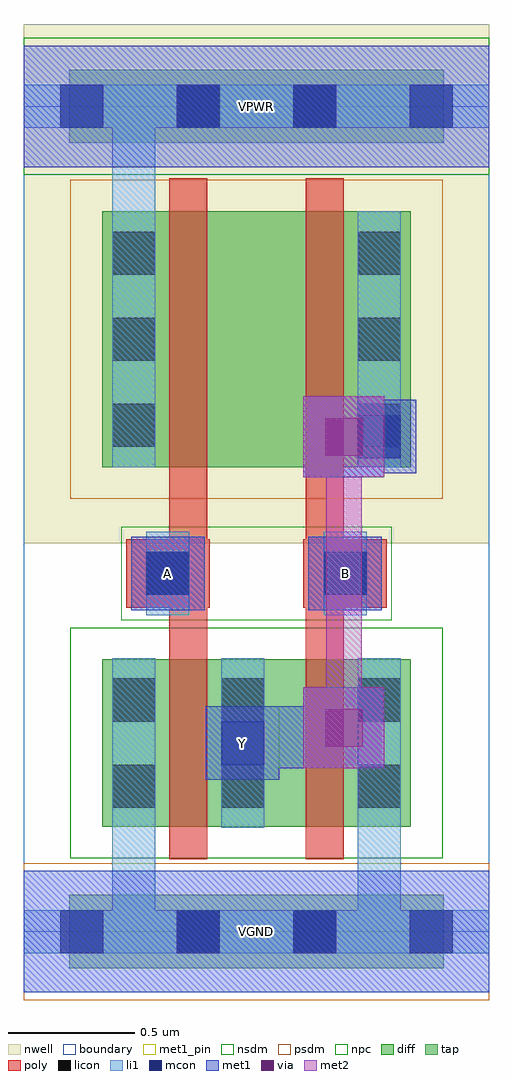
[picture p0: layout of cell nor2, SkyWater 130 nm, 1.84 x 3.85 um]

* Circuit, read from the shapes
.subckt nor2 A B VGND VPWR Y
XM1 Y A VGND VGND sky130_fd_pr__nfet_01v8 w=0.66 l=0.15
XM2 VGND B Y VGND sky130_fd_pr__nfet_01v8 w=0.66 l=0.15
XM3 n1 A VPWR VPWR sky130_fd_pr__pfet_01v8 w=1.01 l=0.15
XM4 Y B n1 VPWR sky130_fd_pr__pfet_01v8 w=1.01 l=0.15
.ends

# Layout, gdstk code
import gdstk
lib = gdstk.Library(unit=1e-6, precision=1e-09)
def R(c, l, rs):  # rectangles x0, y0, x1, y1
    for r in rs: c.add(gdstk.rectangle(r[:2], r[2:], *l))
def A(c, l, x, y, w, h, nx, ny, dx, dy):  # array of equal rectangles
    R(c, l, [(x+i*dx, y+j*dy, x+i*dx+w, y+j*dy+h) for i in range(nx) for j in range(ny)])
nwell = (64, 20)
diff = (65, 20)
tap = (65, 44)
poly = (66, 20)
licon = (66, 44)
li1 = (67, 20)
mcon = (67, 44)
met1_pin = (68, 16)
met1 = (68, 20)
via = (68, 44)
met2 = (69, 20)
nsdm = (93, 44)
psdm = (94, 20)
npc = (95, 20)
boundary = (235, 4)

nor2 = lib.new_cell('nor2')
R(nor2, nwell, [(0,1.535,1.84,3.585)])
R(nor2, diff, [(0.31,0.415,1.53,1.075), (0.31,1.835,1.53,2.845)])
R(nor2, tap, [(0.18,-0.145,1.66,0.145), (0.18,3.115,1.66,3.405)])
R(nor2, poly, [(0.575,0.285,0.725,2.975), (1.115,0.285,1.265,2.975), (0.405,1.28,0.735,1.55), (1.105,1.28,1.435,1.55)])
A(nor2, licon, 0.35, 1.915, 0.17, 0.17, 1, 3, 0, 0.34)
A(nor2, licon, 1.32, 1.915, 0.17, 0.17, 1, 3, 0, 0.34)
R(nor2, licon, [(0.605,-0.085,0.775,0.085), (1.065,-0.085,1.235,0.085), (0.35,0.49,0.52,0.66), (0.78,0.49,0.95,0.66), (1.32,0.49,1.49,0.66), (0.35,0.83,0.52,1), (0.78,0.83,0.95,1), (1.32,0.83,1.49,1), (0.485,1.33,0.655,1.5), (1.185,1.33,1.355,1.5), (0.605,3.175,0.775,3.345), (1.065,3.175,1.235,3.345)])
R(nor2, li1, [(0,-0.085,1.84,0.085), (0.35,-0.085,0.52,1.08), (1.32,-0.085,1.49,1.08), (0.35,0.41,0.52,1.08), (0.78,0.41,0.95,1.08), (1.32,0.41,1.49,1.08), (0.485,1.25,0.655,1.58), (1.185,1.25,1.355,1.58), (0.35,1.835,0.52,2.845), (0.35,1.835,0.52,3.345), (1.32,1.835,1.49,2.845), (0,3.175,1.84,3.345)])
A(nor2, mcon, 0.145, -0.085, 0.17, 0.17, 4, 2, 0.46, 3.26)
R(nor2, mcon, [(0.78,0.66,0.95,0.83), (0.485,1.33,0.655,1.5), (1.185,1.33,1.355,1.5), (1.32,1.87,1.49,2.04)])
R(nor2, met1_pin, [(0,-0.24,1.84,0.24), (0.72,0.6,1.01,0.89), (0.425,1.27,0.715,1.56), (1.125,1.27,1.415,1.56), (0,3.02,1.84,3.5)])
R(nor2, met1, [(0,-0.24,1.84,0.24), (0.72,0.6,1.01,0.89), (1.01,0.645,1.105,0.89), (1.01,0.645,1.105,0.89), (1.01,0.645,1.105,0.89), (1.105,0.645,1.425,0.965), (0.85,0.735,0.99,0.875), (0.85,0.735,1.335,0.875), (0.99,0.735,1.105,0.875), (0.99,0.735,1.105,0.875), (0.99,0.735,1.105,0.875), (0.99,0.735,1.105,0.875), (0.99,0.735,1.105,0.875), (0.99,0.735,1.105,0.875), (0.99,0.735,1.01,0.875), (0.99,0.735,1.01,0.875), (0.99,0.735,1.01,0.875), (0.99,0.735,1.01,0.875), (0.99,0.735,1.01,0.875), (0.99,0.735,1.01,0.875), (1.01,0.735,1.105,0.875), (1.01,0.735,1.105,0.875), (1.01,0.735,1.105,0.875), (1.01,0.735,1.105,0.875), (0.425,1.27,0.715,1.56), (1.125,1.27,1.415,1.56), (1.105,1.795,1.425,2.115), (1.26,1.81,1.55,2.1), (1.195,1.885,1.475,2.025), (0,3.02,1.84,3.5)])
R(nor2, via, [(1.19,0.73,1.34,0.88), (1.19,1.88,1.34,2.03)])
R(nor2, met2, [(1.105,0.645,1.425,0.965), (1.195,0.735,1.335,2.025), (1.105,1.795,1.425,2.115)])
R(nor2, nsdm, [(0.185,0.29,1.655,1.2), (0,2.99,1.84,3.53)])
R(nor2, psdm, [(0,-0.27,1.84,0.27), (0.185,1.71,1.655,2.97)])
R(nor2, npc, [(0.385,1.23,1.455,1.6)])
R(nor2, boundary, [(0,0,1.84,3.26)])
nor2.add(gdstk.Label('A', (0.57,1.415), layer=68, texttype=5))
nor2.add(gdstk.Label('B', (1.27,1.415), layer=68, texttype=5))
nor2.add(gdstk.Label('Y', (0.865,0.745), layer=68, texttype=5))
nor2.add(gdstk.Label('VPWR', (0.92,3.26), layer=68, texttype=5))
nor2.add(gdstk.Label('VGND', (0.92,0), layer=68, texttype=5))
nor2.add(gdstk.Label('A', (0.57,1.415), layer=68, texttype=16))
nor2.add(gdstk.Label('B', (1.27,1.415), layer=68, texttype=16))
nor2.add(gdstk.Label('Y', (0.865,0.745), layer=68, texttype=16))
nor2.add(gdstk.Label('VPWR', (0.92,3.26), layer=68, texttype=16))
nor2.add(gdstk.Label('VGND', (0.92,0), layer=68, texttype=16))

lib.write_gds('nor2.gds')
